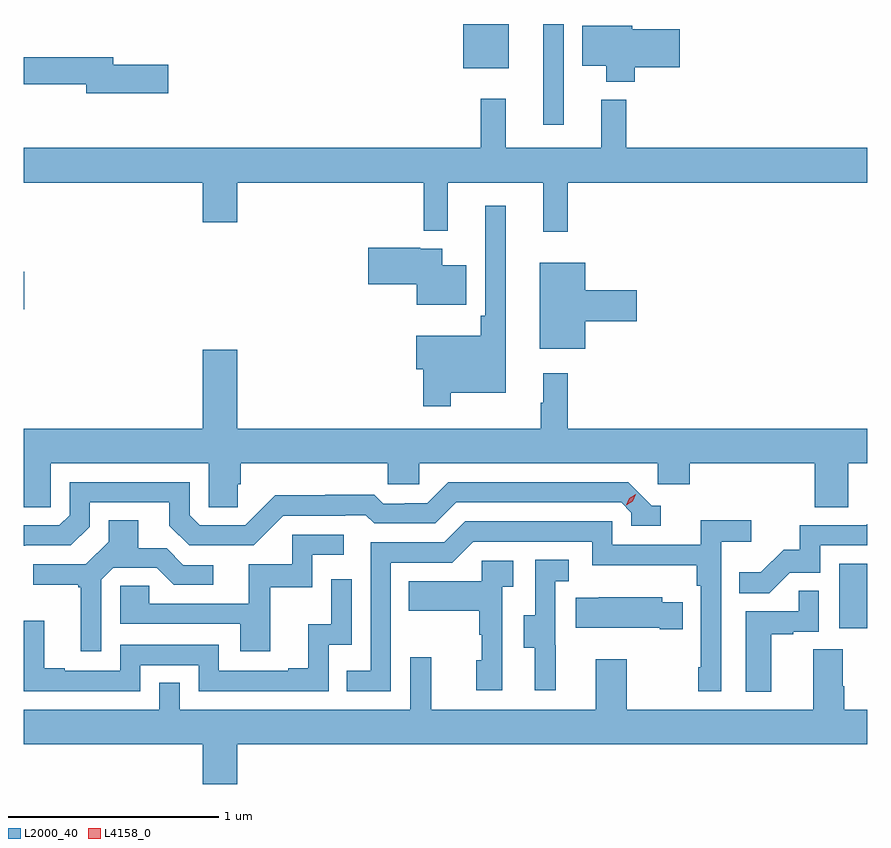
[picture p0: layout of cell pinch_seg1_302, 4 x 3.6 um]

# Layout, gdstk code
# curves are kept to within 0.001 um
import gdstk
lib = gdstk.Library(unit=1e-6, precision=1e-09)
def R(c, l, rs):  # rectangles x0, y0, x1, y1
    for r in rs: c.add(gdstk.rectangle(r[:2], r[2:], *l))
def P(c, l, *ps):  # polygons
    for p in ps: c.add(gdstk.Polygon(p, *l))
L2000_40 = (2000, 40)
L4158_0 = (4158, 0)

pinch_seg1_302 = lib.new_cell('pinch_seg1_302')
R(pinch_seg1_302, L2000_40, [(935.258,556.278,935.391,556.585), (931.391,557.792,931.393,557.97), (933.854,558.666,933.951,559.144), (933.476,558.935,933.691,559.144)])
P(pinch_seg1_302, L2000_40, [(934.289,558.94),(934.501,558.94),(934.501,559.118),(934.276,559.118),(934.276,559.135),(934.04,559.135),(934.04,558.947),(934.154,558.947),(934.154,558.869),(934.289,558.869)],
  [(932.077,558.95),(931.816,558.95),(931.816,558.986),(931.391,558.986),(931.391,558.858),(931.688,558.858),(931.688,558.815),(932.077,558.815)],
  [(931.391,558.392),(932.24,558.392),(932.24,558.204),(932.404,558.204),(932.404,558.392),(933.287,558.392),(933.287,558.164),(933.401,558.164),(933.401,558.392),(933.854,558.392),(933.854,558.159),(933.971,558.159),(933.971,558.392),(935.391,558.392),(935.391,558.556),(934.247,558.556),(934.247,558.784),(934.13,558.784),(934.13,558.556),(933.677,558.556),(933.677,558.79),(933.559,558.79),(933.559,558.556),(931.391,558.556)],
  [(933.415,557.396),(933.676,557.396),(933.676,558.283),(933.579,558.283),(933.579,557.761),(933.559,557.761),(933.559,557.665),(933.252,557.665),(933.252,557.507),(933.286,557.507),(933.286,557.331),(933.415,557.331)],
  [(933.49,558.001),(933.376,558.001),(933.376,558.079),(933.272,558.079),(933.272,558.084),(933.024,558.084),(933.024,557.909),(933.254,557.909),(933.254,557.813),(933.49,557.813)],
  [(934.054,557.735),(934.297,557.735),(934.297,557.882),(934.054,557.882),(934.054,558.013),(933.839,558.013),(933.839,557.603),(934.054,557.603)],
  [(931.518,557.06),(932.268,557.06),(932.268,556.852),(932.405,556.852),(932.405,556.962),(932.42,556.962),(932.42,557.06),(933.117,557.06),(933.117,556.962),(933.267,556.962),(933.267,557.06),(934.398,557.06),(934.398,556.962),(934.55,556.962),(934.55,557.06),(935.141,557.06),(935.141,556.852),(935.301,556.852),(935.301,557.06),(935.391,557.06),(935.391,557.224),(933.971,557.224),(933.971,557.488),(933.854,557.488),(933.854,557.348),(933.843,557.348),(933.843,557.224),(932.404,557.224),(932.404,557.599),(932.24,557.599),(932.24,557.224),(931.391,557.224),(931.391,556.852),(931.518,556.852)],
  [(931.398,556.671),(931.614,556.671),(931.704,556.761),(931.704,556.875),(932.081,556.875),(932.081,556.765),(932.175,556.671),(932.481,556.671),(932.622,556.812),(932.915,556.812),(932.915,556.815),(933.014,556.815),(933.053,556.776),(933.342,556.776),(933.441,556.875),(934.224,556.875),(934.272,556.827),(934.272,556.764),(934.411,556.764),(934.411,556.86),(934.368,556.86),(934.257,556.971),(933.404,556.971),(933.305,556.872),(933.198,556.872),(933.198,556.869),(933.095,556.869),(933.053,556.912),(932.82,556.912),(932.82,556.909),(932.584,556.909),(932.442,556.767),(932.226,556.767),(932.178,556.815),(932.178,556.971),(931.608,556.971),(931.608,556.815),(931.56,556.767),(931.391,556.767),(931.391,556.67)],
  [(933.132,556.59),(933.423,556.59),(933.522,556.689),(934.086,556.689),(934.086,556.577),(934.582,556.577),(934.582,556.481),(934.602,556.481),(934.602,556.093),(934.59,556.093),(934.59,555.981),(934.698,555.981),(934.698,556.688),(934.84,556.688),(934.84,556.79),(934.601,556.79),(934.601,556.674),(934.182,556.674),(934.182,556.785),(933.485,556.785),(933.386,556.686),(933.036,556.686),(933.036,556.077),(932.923,556.077),(932.923,555.981),(933.132,555.981)],
  [(931.758,556.509),(931.815,556.566),(932.021,556.566),(932.102,556.485),(932.29,556.485),(932.29,556.578),(932.148,556.578),(932.068,556.658),(931.933,556.658),(931.933,556.79),(931.793,556.79),(931.793,556.688),(931.686,556.581),(931.437,556.581),(931.437,556.484),(931.65,556.484),(931.65,556.473),(931.661,556.473),(931.661,556.17),(931.758,556.17)],
  [(935.024,556.542),(935.169,556.542),(935.169,556.671),(935.391,556.671),(935.391,556.772),(935.389,556.772),(935.389,556.767),(935.071,556.767),(935.071,556.65),(934.994,556.65),(934.887,556.543),(934.783,556.543),(934.783,556.444),(934.926,556.444)],
  [(932.561,556.473),(932.76,556.473),(932.76,556.626),(932.908,556.626),(932.908,556.722),(932.664,556.722),(932.664,556.581),(932.459,556.581),(932.459,556.395),(931.985,556.395),(931.985,556.479),(931.848,556.479),(931.848,556.299),(932.417,556.299),(932.417,556.17),(932.561,556.17)],
  [(933.914,556.197),(933.912,556.197),(933.912,556.501),(933.976,556.501),(933.976,556.604),(933.816,556.604),(933.816,556.341),(933.761,556.341),(933.761,556.186),(933.815,556.186),(933.815,555.984),(933.914,555.984)],
  [(933.66,556.475),(933.712,556.475),(933.712,556.599),(933.564,556.599),(933.564,556.501),(933.217,556.501),(933.217,556.361),(933.552,556.361),(933.552,556.247),(933.562,556.247),(933.562,556.128),(933.536,556.128),(933.536,555.984),(933.66,555.984)],
  [(931.944,556.104),(932.22,556.104),(932.22,555.981),(932.838,555.981),(932.838,556.2),(932.946,556.2),(932.946,556.51),(932.85,556.51),(932.85,556.298),(932.741,556.298),(932.741,556.09),(932.645,556.09),(932.645,556.077),(932.316,556.077),(932.316,556.2),(931.848,556.2),(931.848,556.077),(931.585,556.077),(931.585,556.09),(931.489,556.09),(931.489,556.315),(931.391,556.315),(931.391,556.217),(931.392,556.217),(931.392,555.981),(931.944,555.981)],
  [(934.936,556.251),(935.039,556.251),(935.039,556.263),(935.16,556.263),(935.16,556.457),(935.065,556.457),(935.065,556.359),(934.814,556.359),(934.814,555.977),(934.936,555.977)],
  [(934.517,556.402),(934.419,556.402),(934.419,556.426),(934.117,556.426),(934.117,556.423),(934.009,556.423),(934.009,556.28),(934.406,556.28),(934.406,556.273),(934.517,556.273)],
  [(932.404,555.728),(935.391,555.728),(935.391,555.892),(935.283,555.892),(935.283,556.004),(935.275,556.004),(935.275,556.178),(935.135,556.178),(935.135,555.892),(934.251,555.892),(934.251,556.132),(934.103,556.132),(934.103,555.892),(933.323,555.892),(933.323,556.141),(933.225,556.141),(933.225,555.892),(932.13,555.892),(932.13,556.019),(932.034,556.019),(932.034,555.892),(931.391,555.892),(931.391,555.728),(932.24,555.728),(932.24,555.54),(932.404,555.54)])
P(pinch_seg1_302, L4158_0, [(934.248,556.861),(934.248,556.861),(934.263,556.894),(934.293,556.914),(934.294,556.914),(934.294,556.914),(934.278,556.881),(934.248,556.861)])

lib.write_gds('pinch_seg1_302.gds')
